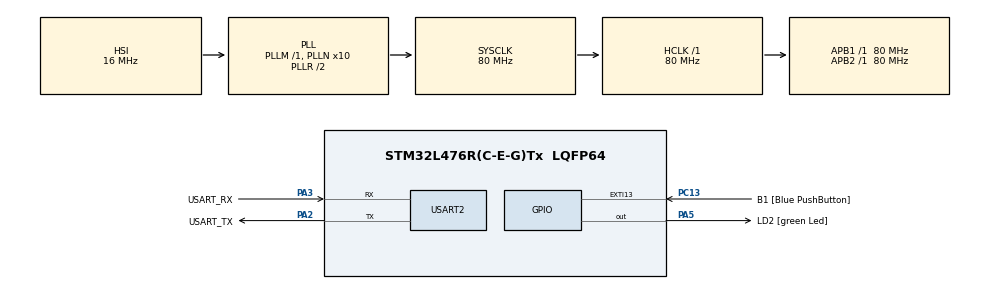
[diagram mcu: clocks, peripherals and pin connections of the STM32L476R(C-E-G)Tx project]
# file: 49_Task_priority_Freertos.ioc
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FREERTOS.Tasks01=defaultTask,0,128,StartDefaultTask,Default,NULL,Dynamic,NULL,NULL
Mcu.Family=STM32L4
Mcu.Name=STM32L476R(C-E-G)Tx
Mcu.Package=LQFP64
NVIC.PriorityGroup=NVIC_PRIORITYGROUP_4
PA13\ (JTMS-SWDIO).GPIO_Label=TMS
PA13\ (JTMS-SWDIO).Mode=Serial_Wire
PA13\ (JTMS-SWDIO).Signal=SYS_JTMS-SWDIO
PA14\ (JTCK-SWCLK).GPIO_Label=TCK
PA14\ (JTCK-SWCLK).Mode=Serial_Wire
PA14\ (JTCK-SWCLK).Signal=SYS_JTCK-SWCLK
PA2.GPIO_Label=USART_TX
PA2.GPIO_Mode=GPIO_MODE_AF_PP
PA2.GPIO_PuPd=GPIO_NOPULL
PA2.GPIO_Speed=GPIO_SPEED_FREQ_VERY_HIGH
PA2.Mode=Asynchronous
PA2.Signal=USART2_TX
PA3.GPIO_Label=USART_RX
PA3.GPIO_Mode=GPIO_MODE_AF_PP
PA3.GPIO_PuPd=GPIO_NOPULL
PA3.GPIO_Speed=GPIO_SPEED_FREQ_VERY_HIGH
PA3.Mode=Asynchronous
PA3.Signal=USART2_RX
PA5.GPIO_Label=LD2 [green Led]
PA5.GPIO_ModeDefaultOutputPP=GPIO_MODE_OUTPUT_PP
PA5.GPIO_PuPd=GPIO_NOPULL
PA5.GPIO_Speed=GPIO_SPEED_FREQ_LOW
PA5.Signal=GPIO_Output
PB3\ (JTDO-TRACESWO).GPIO_Label=SWO
PB3\ (JTDO-TRACESWO).Signal=SYS_JTDO-SWO
PC13.GPIO_Label=B1 [Blue PushButton]
PC13.GPIO_ModeDefaultEXTI=GPIO_MODE_IT_FALLING
PC13.GPIO_PuPd=GPIO_NOPULL
PC13.Signal=GPXTI13
PC14-OSC32_IN\ (PC14).Mode=LSE-External-Oscillator
PC14-OSC32_IN\ (PC14).Signal=RCC_OSC32_IN
PC15-OSC32_OUT\ (PC15).Mode=LSE-External-Oscillator
PC15-OSC32_OUT\ (PC15).Signal=RCC_OSC32_OUT
PH0-OSC_IN\ (PH0).Signal=RCC_OSC_IN
PH1-OSC_OUT\ (PH1).Signal=RCC_OSC_OUT
ProjectManager.HeapSize=0x200
ProjectManager.StackSize=0x400
ProjectManager.TargetToolchain=STM32CubeIDE
RCC.ADCFreq_Value=64000000
RCC.AHBFreq_Value=80000000
RCC.APB1Freq_Value=80000000
RCC.APB1TimFreq_Value=80000000
RCC.APB2Freq_Value=80000000
RCC.APB2TimFreq_Value=80000000
RCC.CortexFreq_Value=80000000
RCC.HCLKFreq_Value=80000000
RCC.HSE_VALUE=8000000
RCC.HSI_VALUE=16000000
RCC.MSI_VALUE=4000000
RCC.PLLN=10
RCC.PLLSourceVirtual=RCC_PLLSOURCE_HSI
RCC.PREFETCH_ENABLE=1
RCC.SYSCLKFreq_VALUE=80000000
RCC.SYSCLKSource=RCC_SYSCLKSOURCE_PLLCLK
RCC.USBFreq_Value=64000000
RCC.VCOOutputFreq_Value=160000000
USART2.VirtualMode-Asynchronous=VM_ASYNC
VP_FREERTOS_VS_CMSIS_V1.Mode=CMSIS_V1
board=NUCLEO-L476RG

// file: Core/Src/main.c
/* USER CODE BEGIN Header */
/**
  ******************************************************************************
  * @file           : main.c
  * @brief          : Main program body
  ******************************************************************************
  * @attention
  *
  * Copyright (c) 2025 STMicroelectronics.
  * All rights reserved.
  *
  * This software is licensed under terms that can be found in the LICENSE file
  * in the root directory of this software component.
  * If no LICENSE file comes with this software, it is provided AS-IS.
  *
  ******************************************************************************
  */
/* USER CODE END Header */
#include "main.h"
#include "cmsis_os.h"

/* USER CODE BEGIN Includes */
#include<stdio.h>
#include<stdarg.h>
/* USER CODE END Includes */

UART_HandleTypeDef huart2;

osThreadId defaultTaskHandle;

void SystemClock_Config(void);
static void MX_GPIO_Init(void);
static void MX_USART2_UART_Init(void);
void StartDefaultTask(void const * argument);

/* USER CODE BEGIN PFP */

void debug_printf(const char *fmt, ...)
{
	char buffer[256];
	va_list args;
	va_start(args, fmt);
	vsnprintf(buffer, sizeof(buffer), fmt, args);
	va_end(args);
	uint16_t i = 0;
	while(buffer[i] != '\0')
	{
		ITM_SendChar(buffer[i]);
		i++;
	}
}

//TaskHandle_t xTaskHandler1 = NULL ;
void rtos_delay(uint32_t delay_in_ms)
{
	uint32_t current_tick_count = xTaskGetTickCount();

	uint32_t delay_in_ticks =(delay_in_ms * configTICK_RATE_HZ)/1000;

	while(xTaskGetTickCount() < (current_tick_count + delay_in_ticks));
}
TaskHandle_t xTaskHandler1 = NULL ;
TaskHandle_t xTaskHandler2 = NULL ;
BaseType_t status;
void Task1_Handler(void *params)
{

	debug_printf("Task-1 is running:");
	while(1)
	{

	}
}
void Task2_Handler(void *params)
{
	UBaseType_t p1,p2;

	debug_printf("Task-2 is running\r\n");

	debug_printf("Task-1 priority%ld\r\n",uxTaskPriorityGet(xTaskHandler1));
	debug_printf("Task-2 priority%ld\r\n",uxTaskPriorityGet(xTaskHandler2));

	while(1)
	{

	}
}
/* USER CODE END PFP */

int main(void)
{

  /* MCU Configuration--------------------------------------------------------*/

  /* Reset of all peripherals, Initializes the Flash interface and the Systick. */
  HAL_Init();

  /* Configure the system clock */
  SystemClock_Config();

  /* Initialize all configured peripherals */
  MX_GPIO_Init();
  MX_USART2_UART_Init();

  /* Create the thread(s) */
  /* definition and creation of defaultTask */
  osThreadDef(defaultTask, StartDefaultTask, osPriorityNormal, 0, 128);
  defaultTaskHandle = osThreadCreate(osThread(defaultTask), NULL);

  /* USER CODE BEGIN RTOS_THREADS */
  /* add threads, ... */
  status=xTaskCreate(Task1_Handler,"Led_Task",200,NULL,2,&xTaskHandler1);
    configASSERT(status);
  	if(status != pdTRUE)
  	{
  	  debug_printf("Task1 failed\n");
  	}
    status=xTaskCreate(Task2_Handler,"BUTTON_Task",200,NULL,3,&xTaskHandler2);
    configASSERT(status);
      if(status != pdTRUE)
      {
    	  debug_printf("Task2 failed\n");
      }
      vTaskStartScheduler();
  /* USER CODE END RTOS_THREADS */

  /* Start scheduler */
  osKernelStart();

  /* We should never get here as control is now taken by the scheduler */

  /* Infinite loop */
  while (1)
  {

  }
}

void SystemClock_Config(void)
{
  RCC_OscInitTypeDef RCC_OscInitStruct = {0};
  RCC_ClkInitTypeDef RCC_ClkInitStruct = {0};

  /** Configure the main internal regulator output voltage
  */
  if (HAL_PWREx_ControlVoltageScaling(PWR_REGULATOR_VOLTAGE_SCALE1) != HAL_OK)
  {
    Error_Handler();
  }

  /** Initializes the RCC Oscillators according to the specified parameters
  * in the RCC_OscInitTypeDef structure.
  */
  RCC_OscInitStruct.OscillatorType = RCC_OSCILLATORTYPE_HSI;
  RCC_OscInitStruct.HSIState = RCC_HSI_ON;
  RCC_OscInitStruct.HSICalibrationValue = RCC_HSICALIBRATION_DEFAULT;
  RCC_OscInitStruct.PLL.PLLState = RCC_PLL_ON;
  RCC_OscInitStruct.PLL.PLLSource = RCC_PLLSOURCE_HSI;
  RCC_OscInitStruct.PLL.PLLM = 1;
  RCC_OscInitStruct.PLL.PLLN = 10;
  RCC_OscInitStruct.PLL.PLLP = RCC_PLLP_DIV7;
  RCC_OscInitStruct.PLL.PLLQ = RCC_PLLQ_DIV2;
  RCC_OscInitStruct.PLL.PLLR = RCC_PLLR_DIV2;
  if (HAL_RCC_OscConfig(&RCC_OscInitStruct) != HAL_OK)
  {
    Error_Handler();
  }

  /** Initializes the CPU, AHB and APB buses clocks
  */
  RCC_ClkInitStruct.ClockType = RCC_CLOCKTYPE_HCLK|RCC_CLOCKTYPE_SYSCLK
                              |RCC_CLOCKTYPE_PCLK1|RCC_CLOCKTYPE_PCLK2;
  RCC_ClkInitStruct.SYSCLKSource = RCC_SYSCLKSOURCE_PLLCLK;
  RCC_ClkInitStruct.AHBCLKDivider = RCC_SYSCLK_DIV1;
  RCC_ClkInitStruct.APB1CLKDivider = RCC_HCLK_DIV1;
  RCC_ClkInitStruct.APB2CLKDivider = RCC_HCLK_DIV1;

  if (HAL_RCC_ClockConfig(&RCC_ClkInitStruct, FLASH_LATENCY_4) != HAL_OK)
  {
    Error_Handler();
  }
}

static void MX_USART2_UART_Init(void)
{

  huart2.Instance = USART2;
  huart2.Init.BaudRate = 115200;
  huart2.Init.WordLength = UART_WORDLENGTH_8B;
  huart2.Init.StopBits = UART_STOPBITS_1;
  huart2.Init.Parity = UART_PARITY_NONE;
  huart2.Init.Mode = UART_MODE_TX_RX;
  huart2.Init.HwFlowCtl = UART_HWCONTROL_NONE;
  huart2.Init.OverSampling = UART_OVERSAMPLING_16;
  huart2.Init.OneBitSampling = UART_ONE_BIT_SAMPLE_DISABLE;
  huart2.AdvancedInit.AdvFeatureInit = UART_ADVFEATURE_NO_INIT;
  if (HAL_UART_Init(&huart2) != HAL_OK)
  {
    Error_Handler();
  }

}

static void MX_GPIO_Init(void)
{
  GPIO_InitTypeDef GPIO_InitStruct = {0};

  /* GPIO Ports Clock Enable */
  __HAL_RCC_GPIOC_CLK_ENABLE();
  __HAL_RCC_GPIOH_CLK_ENABLE();
  __HAL_RCC_GPIOA_CLK_ENABLE();
  __HAL_RCC_GPIOB_CLK_ENABLE();

  /*Configure GPIO pin Output Level */
  HAL_GPIO_WritePin(LD2_GPIO_Port, LD2_Pin, GPIO_PIN_RESET);

  /*Configure GPIO pin : B1_Pin */
  GPIO_InitStruct.Pin = B1_Pin;
  GPIO_InitStruct.Mode = GPIO_MODE_IT_FALLING;
  GPIO_InitStruct.Pull = GPIO_NOPULL;
  HAL_GPIO_Init(B1_GPIO_Port, &GPIO_InitStruct);

  /*Configure GPIO pin : LD2_Pin */
  GPIO_InitStruct.Pin = LD2_Pin;
  GPIO_InitStruct.Mode = GPIO_MODE_OUTPUT_PP;
  GPIO_InitStruct.Pull = GPIO_NOPULL;
  GPIO_InitStruct.Speed = GPIO_SPEED_FREQ_LOW;
  HAL_GPIO_Init(LD2_GPIO_Port, &GPIO_InitStruct);

  /* EXTI interrupt init*/
  HAL_NVIC_SetPriority(EXTI15_10_IRQn, 5, 0);
  HAL_NVIC_EnableIRQ(EXTI15_10_IRQn);

}

void StartDefaultTask(void const * argument)
{
  for(;;)
  {
    osDelay(1);
  }
}

void Error_Handler(void)
{
  __disable_irq();
  while (1)
  {
  }
}
